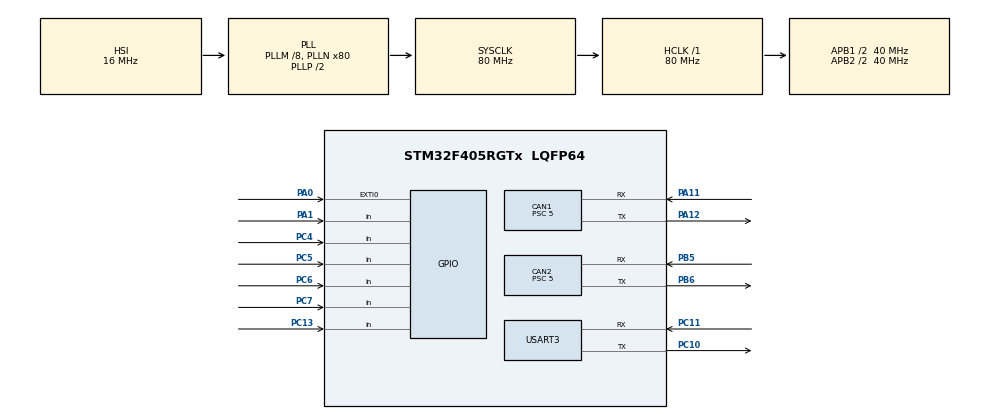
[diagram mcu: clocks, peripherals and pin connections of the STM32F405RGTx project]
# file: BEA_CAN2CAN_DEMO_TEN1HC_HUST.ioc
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CAN1.BS1=CAN_BS1_11TQ
CAN1.BS2=CAN_BS2_4TQ
CAN1.CalculateBaudRate=500000
CAN1.CalculateTimeBit=2000
CAN1.CalculateTimeQuantum=125.0
CAN1.Prescaler=5
CAN1.SJW=CAN_SJW_2TQ
CAN2.BS1=CAN_BS1_11TQ
CAN2.BS2=CAN_BS2_4TQ
CAN2.CalculateBaudRate=500000
CAN2.CalculateTimeBit=2000
CAN2.CalculateTimeQuantum=125.0
CAN2.Prescaler=5
CAN2.SJW=CAN_SJW_2TQ
Mcu.Family=STM32F4
Mcu.Name=STM32F405RGTx
Mcu.Package=LQFP64
NVIC.CAN1_RX0_IRQn=true\:2\:0\:true\:false\:true\:true\:true\:true
NVIC.CAN2_RX0_IRQn=true\:2\:0\:true\:false\:true\:true\:true\:true
NVIC.EXTI0_IRQn=true\:1\:0\:true\:false\:true\:true\:true\:true
NVIC.PriorityGroup=NVIC_PRIORITYGROUP_4
NVIC.TIM1_UP_TIM10_IRQn=true\:3\:0\:true\:false\:true\:true\:true\:true
NVIC.USART3_IRQn=true\:1\:0\:true\:false\:true\:true\:true\:true
PA0-WKUP.GPIO_ModeDefaultEXTI=GPIO_MODE_IT_FALLING
PA0-WKUP.GPIO_PuPd=GPIO_PULLUP
PA0-WKUP.Signal=GPXTI0
PA1.GPIO_PuPd=GPIO_PULLUP
PA1.Signal=GPIO_Input
PA11.Mode=CAN_Activate
PA11.Signal=CAN1_RX
PA12.Mode=CAN_Activate
PA12.Signal=CAN1_TX
PB5.Mode=CAN_Activate
PB5.Signal=CAN2_RX
PB6.Mode=CAN_Activate
PB6.Signal=CAN2_TX
PC10.Mode=Asynchronous
PC10.Signal=USART3_TX
PC11.Mode=Asynchronous
PC11.Signal=USART3_RX
PC13-ANTI_TAMP.GPIO_PuPd=GPIO_PULLUP
PC13-ANTI_TAMP.Signal=GPIO_Input
PC4.GPIO_PuPd=GPIO_PULLUP
PC4.Signal=GPIO_Input
PC5.GPIO_PuPd=GPIO_PULLUP
PC5.Signal=GPIO_Input
PC6.GPIO_PuPd=GPIO_PULLUP
PC6.Signal=GPIO_Input
PC7.GPIO_PuPd=GPIO_PULLUP
PC7.Signal=GPIO_Input
PH0-OSC_IN.Mode=HSE-External-Oscillator
PH0-OSC_IN.Signal=RCC_OSC_IN
PH1-OSC_OUT.Mode=HSE-External-Oscillator
PH1-OSC_OUT.Signal=RCC_OSC_OUT
ProjectManager.HeapSize=0x200
ProjectManager.StackSize=0x400
ProjectManager.TargetToolchain=STM32CubeIDE
RCC.48MHZClocksFreq_Value=40000000
RCC.AHBFreq_Value=80000000
RCC.APB1CLKDivider=RCC_HCLK_DIV2
RCC.APB1Freq_Value=40000000
RCC.APB1TimFreq_Value=80000000
RCC.APB2CLKDivider=RCC_HCLK_DIV2
RCC.APB2Freq_Value=40000000
RCC.APB2TimFreq_Value=80000000
RCC.CortexFreq_Value=80000000
RCC.HCLKFreq_Value=80000000
RCC.HSE_VALUE=8000000
RCC.HSI_VALUE=16000000
RCC.LSE_VALUE=32768
RCC.PLLM=8
RCC.PLLN=80
RCC.SYSCLKFreq_VALUE=80000000
RCC.SYSCLKSource=RCC_SYSCLKSOURCE_PLLCLK
RCC.VCOOutputFreq_Value=160000000
TIM1.Period=(5000-1)
TIM1.Prescaler=(800-1)
USART3.VirtualMode=VM_ASYNC
VP_TIM1_VS_ClockSourceINT.Mode=Internal
board=custom

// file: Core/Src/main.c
/* USER CODE BEGIN Header */
/**
  ******************************************************************************
  * @file           : main.c
  * @brief          : Main program body
  ******************************************************************************
  * @attention
  *
  * Copyright (c) 2023 STMicroelectronics.
  * All rights reserved.
  *
  * This software is licensed under terms that can be found in the LICENSE file
  * in the root directory of this software component.
  * If no LICENSE file comes with this software, it is provided AS-IS.
  *
  ******************************************************************************
  */
/* USER CODE END Header */
#include "main.h"

/* USER CODE BEGIN Includes */
#include "ex1.h"
#include <stdbool.h>

/* USER CODE END Includes */

CAN_HandleTypeDef hcan1;
CAN_HandleTypeDef hcan2;

TIM_HandleTypeDef htim1;

UART_HandleTypeDef huart3;

/* USER CODE BEGIN PV */
uint8_t uart3_receive;

CAN_HandleTypeDef hcan1;
CAN_HandleTypeDef hcan2;
CAN_TxHeaderTypeDef CAN1_pHeader;
CAN_RxHeaderTypeDef CAN1_pHeaderRx;
CAN_FilterTypeDef CAN1_sFilterConfig;
CAN_TxHeaderTypeDef CAN2_pHeader;
CAN_RxHeaderTypeDef CAN2_pHeaderRx;
CAN_FilterTypeDef CAN2_sFilterConfig;
uint32_t CAN1_pTxMailbox;
uint32_t CAN2_pTxMailbox;

uint16_t NumBytesReq = 0;
uint8_t  REQ_BUFFER  [4096];
uint8_t  REQ_1BYTE_DATA;

uint8_t CAN1_DATA_TX[8] = {0x00,0x00,0x00,0x00,0x00,0x00,0x00,0x00};
uint8_t CAN1_DATA_RX[8] = {0x00,0x00,0x00,0x00,0x00,0x00,0x00,0x00};
uint8_t CAN2_DATA_TX[8] = {0x00,0x00,0x00,0x00,0x00,0x00,0x00,0x00};
uint8_t CAN2_DATA_RX[8] = {0x00,0x00,0x00,0x00,0x00,0x00,0x00,0x00};

uint16_t Num_Consecutive_Tester;
uint8_t  Flg_Consecutive = 0;

uint8_t msg_counter = 0;
uint8_t prev_msg_counter = 0;

typedef enum{
	STATE_IDLE,
	STATE_PREPARING_FOR_CAN2_TRANSMISSION,
	STATE_CAN2_TRANSMISSION,
	STATE_READING_CAN1_RECEPTION,
	STATE_PREPARING_FOR_CAN1_TRANSMISSION,
	STATE_CAN1_TRANSMISSION,
	STATE_READING_CAN2_RECEPTION,
	STATE_ERROR
}SystemState;

SystemState currentState = STATE_PREPARING_FOR_CAN2_TRANSMISSION;
unsigned int TimeStamp;
// maximum characters send out via UART is 30
char bufsend[32]="XXX: D1 D2 D3 D4 D5 D6 D7 D8  ";
bool falsecounter = false;
bool falsesum = false;

/* USER CODE END PV */

void SystemClock_Config(void);
static void MX_GPIO_Init(void);
static void MX_CAN1_Init(void);
static void MX_CAN2_Init(void);
static void MX_USART3_UART_Init(void);
static void MX_TIM1_Init(void);
/* USER CODE BEGIN PFP */
void MX_CAN1_Setup();
void MX_CAN2_Setup();
void USART3_SendString(uint8_t *ch);
void PrintCANLog(uint16_t CANID, uint8_t * CAN_Frame);
void SID_22_Practice();
void SID_2E_Practice();
void SID_27_Practice();
void delay(uint16_t delay);
/* USER CODE END PFP */

/* USER CODE BEGIN 0 */
//Đây là callback, chạy sau khi node 1 hoặc node 2 nhận dữ liệu
void HAL_CAN_RxFifo0MsgPendingCallback(CAN_HandleTypeDef *hcan)
{
    CAN_RxHeaderTypeDef rxHeader;
    uint8_t rxData[8];

    HAL_CAN_GetRxMessage(hcan, CAN_RX_FIFO0, &rxHeader, rxData);
    if (hcan->Instance == CAN1) {
        if (currentState == STATE_CAN2_TRANSMISSION){
        	for (uint8_t i = 0; i < 8; i++){
        		CAN1_DATA_RX[i] = rxData[i];
        	}
        	currentState = STATE_READING_CAN1_RECEPTION;
        }
    }
    if (hcan->Instance == CAN2) {
        if (currentState == STATE_CAN1_TRANSMISSION){
        	for (uint8_t i = 0; i < 8; i++){
        		CAN2_DATA_RX[i] = rxData[i];
        	}
        	currentState = STATE_READING_CAN2_RECEPTION;
        }

    }
}
void HAL_TIM_PeriodElapsedCallback(TIM_HandleTypeDef *htim)
{
    if(htim->Instance == TIM1)
    {
        if (currentState == STATE_IDLE) currentState = STATE_PREPARING_FOR_CAN2_TRANSMISSION;
    }
}
void HAL_GPIO_EXTI_Callback(uint16_t GPIO_Pin)
{
    if (GPIO_Pin == GPIO_PIN_0)
    {
    	if (falsesum) falsesum = false;
    	else falsesum = true;

    }
}
/* USER CODE END 0 */

int main(void)
{
  /* USER CODE BEGIN 1 */
	uint16_t i,j = 0;
	uint16_t Consecutive_Cntr = 0;
  /* USER CODE END 1 */

  /* MCU Configuration--------------------------------------------------------*/

  /* Reset of all peripherals, Initializes the Flash interface and the Systick. */
  HAL_Init();

  /* Configure the system clock */
  SystemClock_Config();

  /* Initialize all configured peripherals */
  MX_GPIO_Init();
  MX_CAN1_Init();
  MX_CAN2_Init();
  MX_USART3_UART_Init();
  MX_TIM1_Init();
  /* USER CODE BEGIN 2 */
  MX_CAN1_Setup();
  MX_CAN2_Setup();
  __HAL_UART_ENABLE_IT(&huart3, UART_IT_RXNE);
  /* USER CODE END 2 */

  /* Infinite loop */
  /* USER CODE BEGIN WHILE */
  // Example Function to print can message via uart

  while (1)
  {
    /* USER CODE END WHILE */

    /* USER CODE BEGIN 3 */
	if(!BtnU) /*IG OFF->ON stimulation*/
	{
	  delay(20);
	  USART3_SendString((uint8_t *)"IG OFF ");
	  while(!BtnU);
	  MX_CAN1_Setup();
	  MX_CAN2_Setup();
	  USART3_SendString((uint8_t *)"-> IG ON \n");
	  delay(20);
	}
	switch (currentState){
		case STATE_IDLE:
			break;

		case STATE_PREPARING_FOR_CAN2_TRANSMISSION:
			currentState = STATE_CAN2_TRANSMISSION;
			CAN2_prep_data_tx(3,7);
			CAN2_SendMessage(CAN2_DATA_TX);
			PrintCANLog(CAN2_pHeader.StdId, CAN2_DATA_TX);
			HAL_TIM_Base_Start_IT(&htim1);
			break;

		case STATE_CAN2_TRANSMISSION:
			break;

		case STATE_READING_CAN1_RECEPTION:
			//verify msg_counter

			if (!(verify_msg_counter()) ||  !(verify_checksum(CAN1_DATA_RX))){
				currentState = STATE_IDLE;
			}
			else {
				//Print RX data to terminal
				//PrintCANLog(CAN1_pHeaderRx.StdId, CAN1_DATA_RX);
				//PrintCANLog(CAN2_pHeader.StdId, CAN2_DATA_TX);
				currentState = STATE_PREPARING_FOR_CAN1_TRANSMISSION;
			}
			break;

		case STATE_PREPARING_FOR_CAN1_TRANSMISSION:
			CAN1_prep_data_tx();
			currentState = STATE_CAN1_TRANSMISSION;
			CAN1_SendMessage(CAN1_DATA_TX);
			//Print TX data to terminal
			PrintCANLog(CAN1_pHeader.StdId, CAN1_DATA_TX);
			break;

		case STATE_CAN1_TRANSMISSION:
			break;

		case STATE_READING_CAN2_RECEPTION:
			//Check if checksum is correct or not
			if (!verify_checksum(CAN2_DATA_RX)) {
				currentState = STATE_ERROR;
			}

			else if (!verify_msg_counter()) {
				currentState = STATE_IDLE;
			}

			else {
				//Print RX Data to terminal
				//PrintCANLog(CAN2_pHeaderRx.StdId, CAN2_DATA_RX);
				currentState = STATE_IDLE;
			}
			break;
		case STATE_ERROR:
			currentState = STATE_IDLE;
			CAN2_prep_data_tx(0, 0);
			CAN2_SendMessage(CAN2_DATA_TX);
			prev_msg_counter = msg_counter;

			PrintCANLog(CAN2_pHeader.StdId, CAN2_DATA_TX);
			break;
	}
  }

  memset(&REQ_BUFFER,0x00,4096);
  NumBytesReq = 0;

  /* USER CODE END 3 */
}

void SystemClock_Config(void)
{
  RCC_OscInitTypeDef RCC_OscInitStruct = {0};
  RCC_ClkInitTypeDef RCC_ClkInitStruct = {0};

  /** Configure the main internal regulator output voltage
  */
  __HAL_RCC_PWR_CLK_ENABLE();
  __HAL_PWR_VOLTAGESCALING_CONFIG(PWR_REGULATOR_VOLTAGE_SCALE1);

  /** Initializes the RCC Oscillators according to the specified parameters
  * in the RCC_OscInitTypeDef structure.
  */
  RCC_OscInitStruct.OscillatorType = RCC_OSCILLATORTYPE_HSI;
  RCC_OscInitStruct.HSIState = RCC_HSI_ON;
  RCC_OscInitStruct.HSICalibrationValue = RCC_HSICALIBRATION_DEFAULT;
  RCC_OscInitStruct.PLL.PLLState = RCC_PLL_ON;
  RCC_OscInitStruct.PLL.PLLSource = RCC_PLLSOURCE_HSI;
  RCC_OscInitStruct.PLL.PLLM = 8;
  RCC_OscInitStruct.PLL.PLLN = 80;
  RCC_OscInitStruct.PLL.PLLP = RCC_PLLP_DIV2;
  RCC_OscInitStruct.PLL.PLLQ = 4;
  if (HAL_RCC_OscConfig(&RCC_OscInitStruct) != HAL_OK)
  {
    Error_Handler();
  }

  /** Initializes the CPU, AHB and APB buses clocks
  */
  RCC_ClkInitStruct.ClockType = RCC_CLOCKTYPE_HCLK|RCC_CLOCKTYPE_SYSCLK
                              |RCC_CLOCKTYPE_PCLK1|RCC_CLOCKTYPE_PCLK2;
  RCC_ClkInitStruct.SYSCLKSource = RCC_SYSCLKSOURCE_PLLCLK;
  RCC_ClkInitStruct.AHBCLKDivider = RCC_SYSCLK_DIV1;
  RCC_ClkInitStruct.APB1CLKDivider = RCC_HCLK_DIV2;
  RCC_ClkInitStruct.APB2CLKDivider = RCC_HCLK_DIV2;

  if (HAL_RCC_ClockConfig(&RCC_ClkInitStruct, FLASH_LATENCY_2) != HAL_OK)
  {
    Error_Handler();
  }
}

static void MX_CAN1_Init(void)
{

  hcan1.Instance = CAN1;
  hcan1.Init.Prescaler = 5;
  hcan1.Init.Mode = CAN_MODE_NORMAL;
  hcan1.Init.SyncJumpWidth = CAN_SJW_2TQ;
  hcan1.Init.TimeSeg1 = CAN_BS1_11TQ;
  hcan1.Init.TimeSeg2 = CAN_BS2_4TQ;
  hcan1.Init.TimeTriggeredMode = DISABLE;
  hcan1.Init.AutoBusOff = DISABLE;
  hcan1.Init.AutoWakeUp = DISABLE;
  hcan1.Init.AutoRetransmission = DISABLE;
  hcan1.Init.ReceiveFifoLocked = DISABLE;
  hcan1.Init.TransmitFifoPriority = DISABLE;
  if (HAL_CAN_Init(&hcan1) != HAL_OK)
  {
    Error_Handler();
  }
  /* USER CODE BEGIN CAN1_Init 2 */
  	CAN1_sFilterConfig.SlaveStartFilterBank = 14;
	CAN1_sFilterConfig.FilterBank = 0;
	CAN1_sFilterConfig.FilterMode = CAN_FILTERMODE_IDMASK;
	CAN1_sFilterConfig.FilterScale = CAN_FILTERSCALE_32BIT;
	CAN1_sFilterConfig.FilterIdHigh = 0x0A2 << 5;
	CAN1_sFilterConfig.FilterIdLow = 0x0000;
	CAN1_sFilterConfig.FilterMaskIdHigh = 0x7FF << 5;
	CAN1_sFilterConfig.FilterMaskIdLow = 0x0000;
	CAN1_sFilterConfig.FilterFIFOAssignment = CAN_FILTER_FIFO0;
	CAN1_sFilterConfig.FilterActivation = ENABLE;
  /* USER CODE END CAN1_Init 2 */

}

static void MX_CAN2_Init(void)
{

  hcan2.Instance = CAN2;
  hcan2.Init.Prescaler = 5;
  hcan2.Init.Mode = CAN_MODE_NORMAL;
  hcan2.Init.SyncJumpWidth = CAN_SJW_2TQ;
  hcan2.Init.TimeSeg1 = CAN_BS1_11TQ;
  hcan2.Init.TimeSeg2 = CAN_BS2_4TQ;
  hcan2.Init.TimeTriggeredMode = DISABLE;
  hcan2.Init.AutoBusOff = DISABLE;
  hcan2.Init.AutoWakeUp = DISABLE;
  hcan2.Init.AutoRetransmission = DISABLE;
  hcan2.Init.ReceiveFifoLocked = DISABLE;
  hcan2.Init.TransmitFifoPriority = DISABLE;
  if (HAL_CAN_Init(&hcan2) != HAL_OK)
  {
    Error_Handler();
  }
  /* USER CODE BEGIN CAN2_Init 2 */
	//Cần config các setting của filter ở đây
	CAN2_sFilterConfig.FilterBank = 14;
	CAN2_sFilterConfig.FilterMode = CAN_FILTERMODE_IDMASK;
	CAN2_sFilterConfig.FilterScale = CAN_FILTERSCALE_32BIT;
	CAN2_sFilterConfig.FilterIdHigh = 0x012 << 5;
	CAN2_sFilterConfig.FilterIdLow = 0x0000;
	CAN2_sFilterConfig.FilterMaskIdHigh = 0x7FF << 5;
	CAN2_sFilterConfig.FilterMaskIdLow = 0x0000;
	CAN2_sFilterConfig.FilterFIFOAssignment = CAN_FILTER_FIFO0;
	CAN2_sFilterConfig.FilterActivation = ENABLE;

  /* USER CODE END CAN2_Init 2 */

}

static void MX_TIM1_Init(void)
{

  TIM_ClockConfigTypeDef sClockSourceConfig = {0};
  TIM_MasterConfigTypeDef sMasterConfig = {0};

  htim1.Instance = TIM1;
  htim1.Init.Prescaler = (800-1);
  htim1.Init.CounterMode = TIM_COUNTERMODE_UP;
  htim1.Init.Period = (5000-1);
  htim1.Init.ClockDivision = TIM_CLOCKDIVISION_DIV1;
  htim1.Init.RepetitionCounter = 0;
  htim1.Init.AutoReloadPreload = TIM_AUTORELOAD_PRELOAD_DISABLE;
  if (HAL_TIM_Base_Init(&htim1) != HAL_OK)
  {
    Error_Handler();
  }
  sClockSourceConfig.ClockSource = TIM_CLOCKSOURCE_INTERNAL;
  if (HAL_TIM_ConfigClockSource(&htim1, &sClockSourceConfig) != HAL_OK)
  {
    Error_Handler();
  }
  sMasterConfig.MasterOutputTrigger = TIM_TRGO_RESET;
  sMasterConfig.MasterSlaveMode = TIM_MASTERSLAVEMODE_DISABLE;
  if (HAL_TIMEx_MasterConfigSynchronization(&htim1, &sMasterConfig) != HAL_OK)
  {
    Error_Handler();
  }

}

static void MX_USART3_UART_Init(void)
{

  huart3.Instance = USART3;
  huart3.Init.BaudRate = 115200;
  huart3.Init.WordLength = UART_WORDLENGTH_8B;
  huart3.Init.StopBits = UART_STOPBITS_1;
  huart3.Init.Parity = UART_PARITY_NONE;
  huart3.Init.Mode = UART_MODE_TX_RX;
  huart3.Init.HwFlowCtl = UART_HWCONTROL_NONE;
  huart3.Init.OverSampling = UART_OVERSAMPLING_8;
  if (HAL_UART_Init(&huart3) != HAL_OK)
  {
    Error_Handler();
  }

}

static void MX_GPIO_Init(void)
{
  GPIO_InitTypeDef GPIO_InitStruct = {0};

  /* GPIO Ports Clock Enable */
  __HAL_RCC_GPIOC_CLK_ENABLE();
  __HAL_RCC_GPIOH_CLK_ENABLE();
  __HAL_RCC_GPIOA_CLK_ENABLE();
  __HAL_RCC_GPIOB_CLK_ENABLE();

  /*Configure GPIO pins : PC13 PC4 PC5 PC6
                           PC7 */
  GPIO_InitStruct.Pin = GPIO_PIN_13|GPIO_PIN_4|GPIO_PIN_5|GPIO_PIN_6
                          |GPIO_PIN_7;
  GPIO_InitStruct.Mode = GPIO_MODE_INPUT;
  GPIO_InitStruct.Pull = GPIO_PULLUP;
  HAL_GPIO_Init(GPIOC, &GPIO_InitStruct);

  /*Configure GPIO pin : PA0 */
  GPIO_InitStruct.Pin = GPIO_PIN_0;
  GPIO_InitStruct.Mode = GPIO_MODE_IT_FALLING;
  GPIO_InitStruct.Pull = GPIO_PULLUP;
  HAL_GPIO_Init(GPIOA, &GPIO_InitStruct);

  /*Configure GPIO pin : PA1 */
  GPIO_InitStruct.Pin = GPIO_PIN_1;
  GPIO_InitStruct.Mode = GPIO_MODE_INPUT;
  GPIO_InitStruct.Pull = GPIO_PULLUP;
  HAL_GPIO_Init(GPIOA, &GPIO_InitStruct);

  /* EXTI interrupt init*/
  HAL_NVIC_SetPriority(EXTI0_IRQn, 1, 0);
  HAL_NVIC_EnableIRQ(EXTI0_IRQn);

}

/* USER CODE BEGIN 4 */

void MX_CAN1_Setup()
{
	HAL_CAN_ConfigFilter(&hcan1, &CAN1_sFilterConfig);
	HAL_CAN_Start(&hcan1);
	HAL_CAN_ActivateNotification(&hcan1, CAN_IT_RX_FIFO0_MSG_PENDING);

	//Cần config header của CAN1
    CAN1_pHeader.StdId = 0x012;                   // Set TX message ID
    CAN1_pHeader.IDE = CAN_ID_STD;                // Use standard ID
    CAN1_pHeader.RTR = CAN_RTR_DATA;              // Sending data, not a request
    CAN1_pHeader.DLC = 8;                         // 8 bytes of data
    CAN1_pHeader.TransmitGlobalTime = DISABLE;    // No timestamping
}
void MX_CAN2_Setup()
{
	HAL_CAN_ConfigFilter(&hcan2, &CAN2_sFilterConfig);
	HAL_CAN_Start(&hcan2);
	HAL_CAN_ActivateNotification(&hcan2, CAN_IT_RX_FIFO0_MSG_PENDING);

	//Cần config header của CAN2
    CAN2_pHeader.StdId = 0x0A2;                   // Set TX message ID
    CAN2_pHeader.IDE = CAN_ID_STD;                // Use standard ID
    CAN2_pHeader.RTR = CAN_RTR_DATA;              // Sending data, not a request
    CAN2_pHeader.DLC = 8;                         // 8 bytes of data
    CAN2_pHeader.TransmitGlobalTime = DISABLE;    // No timestamping
}

void USART3_SendString(uint8_t *ch)
{
   while(*ch!=0)
   {
      HAL_UART_Transmit(&huart3, ch, 1,HAL_MAX_DELAY);
      ch++;
   }
}
void PrintCANLog(uint16_t CANID, uint8_t *CAN_Frame)
{
    char bufsend[64];  // Safe enough size
    uint16_t i = 0;

    // Format timestamp
    int len = sprintf(bufsend, "%d ", TimeStamp);

    // Format CAN ID (always 3 digits, uppercase hex)
    len += sprintf(bufsend + len, "%03X: ", CANID & 0x7FF);  // mask to 11 bits

    // Format 8 bytes of CAN data
    for (i = 0; i < 8; i++) {
        len += sprintf(bufsend + len, "%02X ", CAN_Frame[i]);
    }

    // End with CRLF
    bufsend[len++] = '\r';
    bufsend[len++] = '\n';
    bufsend[len] = '\0';

    // Send over UART
    USART3_SendString((uint8_t *)bufsend);
}
void HAL_UART_RxCpltCallback(UART_HandleTypeDef *huart)
{
	REQ_BUFFER[NumBytesReq] = REQ_1BYTE_DATA;
	NumBytesReq++;
	//REQ_BUFFER[7] = NumBytesReq;
}
void delay(uint16_t delay)
{
	HAL_Delay(delay);
}
/* USER CODE END 4 */

void Error_Handler(void)
{
  __disable_irq();
  while (1)
  {
  }
}
